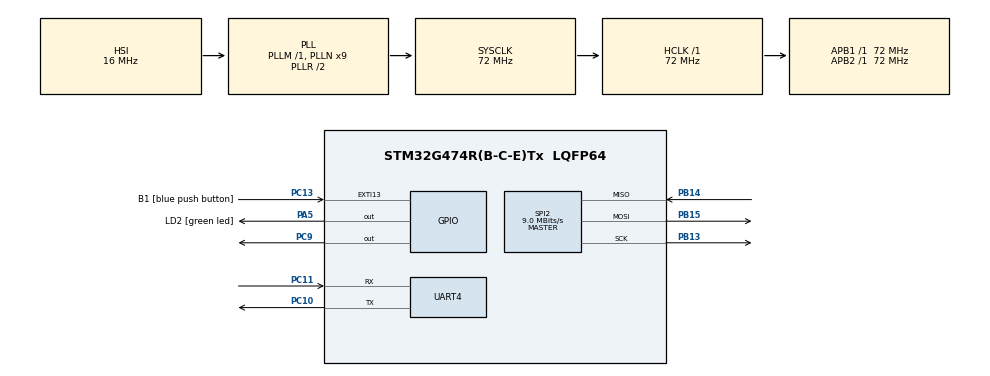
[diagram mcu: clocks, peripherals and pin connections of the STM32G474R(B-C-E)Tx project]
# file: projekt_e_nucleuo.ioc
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Dma.Request0=UART4_RX
Dma.Request1=UART4_TX
Dma.Request2=SPI2_RX
Dma.Request3=SPI2_TX
Dma.SPI2_RX.2.Direction=DMA_PERIPH_TO_MEMORY
Dma.SPI2_RX.2.EventEnable=DISABLE
Dma.SPI2_RX.2.Instance=DMA1_Channel3
Dma.SPI2_RX.2.MemDataAlignment=DMA_MDATAALIGN_BYTE
Dma.SPI2_RX.2.MemInc=DMA_MINC_ENABLE
Dma.SPI2_RX.2.Mode=DMA_NORMAL
Dma.SPI2_RX.2.PeriphDataAlignment=DMA_PDATAALIGN_BYTE
Dma.SPI2_RX.2.PeriphInc=DMA_PINC_DISABLE
Dma.SPI2_RX.2.Polarity=HAL_DMAMUX_REQ_GEN_RISING
Dma.SPI2_RX.2.Priority=DMA_PRIORITY_LOW
Dma.SPI2_RX.2.RequestNumber=1
Dma.SPI2_RX.2.SignalID=NONE
Dma.SPI2_RX.2.SyncEnable=DISABLE
Dma.SPI2_RX.2.SyncPolarity=HAL_DMAMUX_SYNC_NO_EVENT
Dma.SPI2_RX.2.SyncRequestNumber=1
Dma.SPI2_RX.2.SyncSignalID=NONE
Dma.SPI2_TX.3.Direction=DMA_MEMORY_TO_PERIPH
Dma.SPI2_TX.3.EventEnable=DISABLE
Dma.SPI2_TX.3.Instance=DMA1_Channel4
Dma.SPI2_TX.3.MemDataAlignment=DMA_MDATAALIGN_BYTE
Dma.SPI2_TX.3.MemInc=DMA_MINC_ENABLE
Dma.SPI2_TX.3.Mode=DMA_NORMAL
Dma.SPI2_TX.3.PeriphDataAlignment=DMA_PDATAALIGN_BYTE
Dma.SPI2_TX.3.PeriphInc=DMA_PINC_DISABLE
Dma.SPI2_TX.3.Polarity=HAL_DMAMUX_REQ_GEN_RISING
Dma.SPI2_TX.3.Priority=DMA_PRIORITY_LOW
Dma.SPI2_TX.3.RequestNumber=1
Dma.SPI2_TX.3.SignalID=NONE
Dma.SPI2_TX.3.SyncEnable=DISABLE
Dma.SPI2_TX.3.SyncPolarity=HAL_DMAMUX_SYNC_NO_EVENT
Dma.SPI2_TX.3.SyncRequestNumber=1
Dma.SPI2_TX.3.SyncSignalID=NONE
Dma.UART4_RX.0.Direction=DMA_PERIPH_TO_MEMORY
Dma.UART4_RX.0.EventEnable=DISABLE
Dma.UART4_RX.0.Instance=DMA1_Channel1
Dma.UART4_RX.0.MemDataAlignment=DMA_MDATAALIGN_BYTE
Dma.UART4_RX.0.MemInc=DMA_MINC_ENABLE
Dma.UART4_RX.0.Mode=DMA_NORMAL
Dma.UART4_RX.0.PeriphDataAlignment=DMA_PDATAALIGN_BYTE
Dma.UART4_RX.0.PeriphInc=DMA_PINC_DISABLE
Dma.UART4_RX.0.Polarity=HAL_DMAMUX_REQ_GEN_RISING
Dma.UART4_RX.0.Priority=DMA_PRIORITY_LOW
Dma.UART4_RX.0.RequestNumber=1
Dma.UART4_RX.0.SignalID=NONE
Dma.UART4_RX.0.SyncEnable=DISABLE
Dma.UART4_RX.0.SyncPolarity=HAL_DMAMUX_SYNC_NO_EVENT
Dma.UART4_RX.0.SyncRequestNumber=1
Dma.UART4_RX.0.SyncSignalID=NONE
Dma.UART4_TX.1.Direction=DMA_MEMORY_TO_PERIPH
Dma.UART4_TX.1.EventEnable=DISABLE
Dma.UART4_TX.1.Instance=DMA1_Channel2
Dma.UART4_TX.1.MemDataAlignment=DMA_MDATAALIGN_BYTE
Dma.UART4_TX.1.MemInc=DMA_MINC_ENABLE
Dma.UART4_TX.1.Mode=DMA_NORMAL
Dma.UART4_TX.1.PeriphDataAlignment=DMA_PDATAALIGN_BYTE
Dma.UART4_TX.1.PeriphInc=DMA_PINC_DISABLE
Dma.UART4_TX.1.Polarity=HAL_DMAMUX_REQ_GEN_RISING
Dma.UART4_TX.1.Priority=DMA_PRIORITY_LOW
Dma.UART4_TX.1.RequestNumber=1
Dma.UART4_TX.1.SignalID=NONE
Dma.UART4_TX.1.SyncEnable=DISABLE
Dma.UART4_TX.1.SyncPolarity=HAL_DMAMUX_SYNC_NO_EVENT
Dma.UART4_TX.1.SyncRequestNumber=1
Dma.UART4_TX.1.SyncSignalID=NONE
Mcu.Family=STM32G4
Mcu.Name=STM32G474R(B-C-E)Tx
Mcu.Package=LQFP64
NVIC.DMA1_Channel1_IRQn=true\:0\:0\:false\:false\:true\:false\:true\:true
NVIC.DMA1_Channel2_IRQn=true\:0\:0\:false\:false\:true\:false\:true\:true
NVIC.DMA1_Channel3_IRQn=true\:0\:0\:false\:false\:true\:false\:true\:true
NVIC.DMA1_Channel4_IRQn=true\:0\:0\:false\:false\:true\:false\:true\:true
NVIC.EXTI15_10_IRQn=true\:0\:0\:false\:false\:true\:true\:true\:true
NVIC.PriorityGroup=NVIC_PRIORITYGROUP_4
NVIC.SPI2_IRQn=true\:0\:0\:false\:false\:true\:true\:true\:true
NVIC.TIM2_IRQn=true\:0\:0\:false\:false\:true\:true\:true\:true
NVIC.UART4_IRQn=true\:0\:0\:false\:false\:true\:true\:true\:true
PA13.GPIO_Label=T_SWDIO
PA13.Mode=Serial_Wire
PA13.Signal=SYS_JTMS-SWDIO
PA14.GPIO_Label=T_SWCLK
PA14.Mode=Serial_Wire
PA14.Signal=SYS_JTCK-SWCLK
PA2.GPIO_Label=LPUART1_TX [STLINKV3E_VCP_RX]
PA2.Signal=LPUART1_TX
PA3.GPIO_Label=LPUART1_RX [STLINKV3E_VCP_TX]
PA3.Signal=LPUART1_RX
PA5.GPIO_Label=LD2 [green led]
PA5.Signal=GPIO_Output
PB13.Mode=Full_Duplex_Master
PB13.Signal=SPI2_SCK
PB14.Mode=Full_Duplex_Master
PB14.Signal=SPI2_MISO
PB15.Mode=Full_Duplex_Master
PB15.Signal=SPI2_MOSI
PB3.GPIO_Label=T_SWO
PB3.Signal=SYS_JTDO-SWO
PC10.Mode=Asynchronous
PC10.Signal=UART4_TX
PC11.Mode=Asynchronous
PC11.Signal=UART4_RX
PC13.GPIO_Label=B1 [blue push button]
PC13.Signal=GPXTI13
PC14-OSC32_IN.GPIO_Label=RCC_OSC32_IN
PC14-OSC32_IN.Signal=RCC_OSC32_IN
PC15-OSC32_OUT.GPIO_Label=RCC_OSC32_OUT
PC15-OSC32_OUT.Signal=RCC_OSC32_OUT
PC9.Signal=GPIO_Output
PF0-OSC_IN.GPIO_Label=RCC_OSC_IN
PF0-OSC_IN.Mode=HSE-External-Oscillator
PF0-OSC_IN.Signal=RCC_OSC_IN
PF1-OSC_OUT.GPIO_Label=RCC_OSC_OUT
PF1-OSC_OUT.Mode=HSE-External-Oscillator
PF1-OSC_OUT.Signal=RCC_OSC_OUT
ProjectManager.HeapSize=0x200
ProjectManager.StackSize=0x400
ProjectManager.TargetToolchain=STM32CubeIDE
RCC.ADC12Freq_Value=72000000
RCC.ADC345Freq_Value=72000000
RCC.AHBFreq_Value=72000000
RCC.APB1Freq_Value=72000000
RCC.APB1TimFreq_Value=72000000
RCC.APB2Freq_Value=72000000
RCC.APB2TimFreq_Value=72000000
RCC.CortexFreq_Value=72000000
RCC.EXTERNAL_CLOCK_VALUE=12288000
RCC.HCLKFreq_Value=72000000
RCC.HSE_VALUE=24000000
RCC.HSI48_VALUE=48000000
RCC.HSI_VALUE=16000000
RCC.LSE_VALUE=32768
RCC.PLLN=9
RCC.RTCClockSelection=RCC_RTCCLKSOURCE_LSE
RCC.SYSCLKFreq_VALUE=72000000
RCC.SYSCLKSource=RCC_SYSCLKSOURCE_PLLCLK
RCC.USBFreq_Value=72000000
RCC.VCOOutputFreq_Value=144000000
SPI2.BaudRatePrescaler=SPI_BAUDRATEPRESCALER_8
SPI2.CalculateBaudRate=9.0 MBits/s
SPI2.DataSize=SPI_DATASIZE_8BIT
SPI2.Direction=SPI_DIRECTION_2LINES
SPI2.Mode=SPI_MODE_MASTER
SPI2.VirtualType=VM_MASTER
TIM2.PeriodNoDither=78
TIM2.Prescaler=7200
VP_SYS_VS_DBSignals.Mode=DisableDeadBatterySignals
VP_TIM2_VS_ClockSourceINT.Mode=Internal
board=NUCLEO-G474RE

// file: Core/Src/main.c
/* USER CODE BEGIN Header */
/**
  ******************************************************************************
  * @file           : main.c
  * @brief          : Main program body
  ******************************************************************************
  * @attention
  *
  * Copyright (c) 2025 STMicroelectronics.
  * All rights reserved.
  *
  * This software is licensed under terms that can be found in the LICENSE file
  * in the root directory of this software component.
  * If no LICENSE file comes with this software, it is provided AS-IS.
  *
  ******************************************************************************
  */
/* USER CODE END Header */
#include "main.h"

/* USER CODE BEGIN Includes */
#include "MAX30003.h"
#include "PanTompkins.h"
#include <string.h>
/* USER CODE END Includes */

/* USER CODE BEGIN PD */

//parametri sinusa

/* USER CODE END PD */

SPI_HandleTypeDef hspi2;
DMA_HandleTypeDef hdma_spi2_rx;
DMA_HandleTypeDef hdma_spi2_tx;

TIM_HandleTypeDef htim2;

UART_HandleTypeDef huart4;
DMA_HandleTypeDef hdma_uart4_rx;
DMA_HandleTypeDef hdma_uart4_tx;

/* USER CODE BEGIN PV */

uint8_t rx_byte;
char rx_buffer[32];
uint8_t rx_index = 0;

volatile uint8_t streaming = 0; //varijabla sa kojom ćemo pokrenut omogucit tj. onemogucit dma prijenos prema uartu
volatile int data = 0;
volatile uint16_t mock_index = 0;
volatile int bpm_main = 0;
volatile int ecg_data;

typedef struct __attribute__((packed)) {
    uint8_t  header;    // 0xAA
    int ecg_raw;   // 4 bytes (MAX30003 gives 24-bit, we store in 32
    int bpm;
    uint8_t  footer;    // 0xZZ
} ECG_Packet_t;
//__attribute__ govori kompajleru "sada  cu ti dat neku iznimnu nardebu", packed znači da se adrese u strukturi koju pošaljemo u
//mikrokontroler neće poravnati na adrese djeljive sa 4, već čemo ih "stisnut skupa

ECG_Packet_t myPacket;

volatile uint8_t transfer_complete = 1; // Zastavica kojom kontroliramo SPI  i UART prijenos

/* USER CODE END PV */

void SystemClock_Config(void);
static void MX_GPIO_Init(void);
static void MX_DMA_Init(void);
static void MX_UART4_Init(void);
static void MX_SPI2_Init(void);
static void MX_TIM2_Init(void);

/* USER CODE BEGIN 0 */

void stop_streaming(void);
void HAL_UART_TxCpltCallback(UART_HandleTypeDef *huart); //Poziva se nakon slanja komandi sa Python-a
void start_stream(void);
void send_packet(void);
int generate_ecg_sample(void);
void HAL_TIM_PeriodElapsedCallback(TIM_HandleTypeDef* htim); //poziva sa frekvnecijom 256 Hz

/* USER CODE END 0 */

int main(void)
{

  /* MCU Configuration--------------------------------------------------------*/

  /* Reset of all peripherals, Initializes the Flash interface and the Systick. */
  HAL_Init();

  /* Configure the system clock */
  SystemClock_Config();

  /* Initialize all configured peripherals */
  MX_GPIO_Init();
  MX_DMA_Init();
  MX_UART4_Init();
  MX_SPI2_Init();
  MX_TIM2_Init();
  /* USER CODE BEGIN 2 */

  HAL_TIM_Base_Start_IT(&htim2);
  HAL_UART_Receive_IT(&huart4, &rx_byte, 1); //omogucujemo interrupt da povežemo python sa mikrokontrolerom
  PanTompkins_Init();
  myPacket.header = 0xAA;
  myPacket.footer = 0x0A;
  myPacket.bpm = 0;
  MAX30003_Init(&hspi2);

  /* USER CODE END 2 */

  /* Infinite loop */
  while (1)
  {

    /* USER CODE BEGIN 3 */
	  if (streaming)
	    {
	      if(transfer_complete == 0){
	    	  transfer_complete = 1;
	//   	  ecg_data = MAX30003_ReadECG(&hspi2);
	    	  ecg_data = generate_ecg_sample();
	   	myPacket.ecg_raw = ecg_data;
	    	  bpm_main = PanTompkins_Process(ecg_data);
	    	  myPacket.bpm = bpm_main;
	    	  HAL_UART_Transmit(&huart4, (uint8_t*)&myPacket, sizeof(myPacket), 100);

	      }
	    }
	    else
	    {
	      // Kad nema streaming, provjeri UART komande
	    }

  }
  /* USER CODE END 3 */
}

void SystemClock_Config(void)
{
  RCC_OscInitTypeDef RCC_OscInitStruct = {0};
  RCC_ClkInitTypeDef RCC_ClkInitStruct = {0};

  /** Configure the main internal regulator output voltage
  */
  HAL_PWREx_ControlVoltageScaling(PWR_REGULATOR_VOLTAGE_SCALE1);

  /** Initializes the RCC Oscillators according to the specified parameters
  * in the RCC_OscInitTypeDef structure.
  */
  RCC_OscInitStruct.OscillatorType = RCC_OSCILLATORTYPE_HSI;
  RCC_OscInitStruct.HSIState = RCC_HSI_ON;
  RCC_OscInitStruct.HSICalibrationValue = RCC_HSICALIBRATION_DEFAULT;
  RCC_OscInitStruct.PLL.PLLState = RCC_PLL_ON;
  RCC_OscInitStruct.PLL.PLLSource = RCC_PLLSOURCE_HSI;
  RCC_OscInitStruct.PLL.PLLM = RCC_PLLM_DIV1;
  RCC_OscInitStruct.PLL.PLLN = 9;
  RCC_OscInitStruct.PLL.PLLP = RCC_PLLP_DIV2;
  RCC_OscInitStruct.PLL.PLLQ = RCC_PLLQ_DIV2;
  RCC_OscInitStruct.PLL.PLLR = RCC_PLLR_DIV2;
  if (HAL_RCC_OscConfig(&RCC_OscInitStruct) != HAL_OK)
  {
    Error_Handler();
  }

  /** Initializes the CPU, AHB and APB buses clocks
  */
  RCC_ClkInitStruct.ClockType = RCC_CLOCKTYPE_HCLK|RCC_CLOCKTYPE_SYSCLK
                              |RCC_CLOCKTYPE_PCLK1|RCC_CLOCKTYPE_PCLK2;
  RCC_ClkInitStruct.SYSCLKSource = RCC_SYSCLKSOURCE_PLLCLK;
  RCC_ClkInitStruct.AHBCLKDivider = RCC_SYSCLK_DIV1;
  RCC_ClkInitStruct.APB1CLKDivider = RCC_HCLK_DIV1;
  RCC_ClkInitStruct.APB2CLKDivider = RCC_HCLK_DIV1;

  if (HAL_RCC_ClockConfig(&RCC_ClkInitStruct, FLASH_LATENCY_2) != HAL_OK)
  {
    Error_Handler();
  }
}

static void MX_SPI2_Init(void)
{

  /* SPI2 parameter configuration*/
  hspi2.Instance = SPI2;
  hspi2.Init.Mode = SPI_MODE_MASTER;
  hspi2.Init.Direction = SPI_DIRECTION_2LINES;
  hspi2.Init.DataSize = SPI_DATASIZE_8BIT;
  hspi2.Init.CLKPolarity = SPI_POLARITY_LOW;
  hspi2.Init.CLKPhase = SPI_PHASE_1EDGE;
  hspi2.Init.NSS = SPI_NSS_SOFT;
  hspi2.Init.BaudRatePrescaler = SPI_BAUDRATEPRESCALER_8;
  hspi2.Init.FirstBit = SPI_FIRSTBIT_MSB;
  hspi2.Init.TIMode = SPI_TIMODE_DISABLE;
  hspi2.Init.CRCCalculation = SPI_CRCCALCULATION_DISABLE;
  hspi2.Init.CRCPolynomial = 7;
  hspi2.Init.CRCLength = SPI_CRC_LENGTH_DATASIZE;
  hspi2.Init.NSSPMode = SPI_NSS_PULSE_ENABLE;
  if (HAL_SPI_Init(&hspi2) != HAL_OK)
  {
    Error_Handler();
  }

}

static void MX_TIM2_Init(void)
{

  TIM_ClockConfigTypeDef sClockSourceConfig = {0};
  TIM_MasterConfigTypeDef sMasterConfig = {0};

  htim2.Instance = TIM2;
  htim2.Init.Prescaler = 3600;
  htim2.Init.CounterMode = TIM_COUNTERMODE_UP;
  htim2.Init.Period = 78;
  htim2.Init.ClockDivision = TIM_CLOCKDIVISION_DIV1;
  htim2.Init.AutoReloadPreload = TIM_AUTORELOAD_PRELOAD_DISABLE;
  if (HAL_TIM_Base_Init(&htim2) != HAL_OK)
  {
    Error_Handler();
  }
  sClockSourceConfig.ClockSource = TIM_CLOCKSOURCE_INTERNAL;
  if (HAL_TIM_ConfigClockSource(&htim2, &sClockSourceConfig) != HAL_OK)
  {
    Error_Handler();
  }
  sMasterConfig.MasterOutputTrigger = TIM_TRGO_RESET;
  sMasterConfig.MasterSlaveMode = TIM_MASTERSLAVEMODE_DISABLE;
  if (HAL_TIMEx_MasterConfigSynchronization(&htim2, &sMasterConfig) != HAL_OK)
  {
    Error_Handler();
  }

}

static void MX_UART4_Init(void)
{

  huart4.Instance = UART4;
  huart4.Init.BaudRate = 115200;
  huart4.Init.WordLength = UART_WORDLENGTH_8B;
  huart4.Init.StopBits = UART_STOPBITS_1;
  huart4.Init.Parity = UART_PARITY_NONE;
  huart4.Init.Mode = UART_MODE_TX_RX;
  huart4.Init.HwFlowCtl = UART_HWCONTROL_NONE;
  huart4.Init.OverSampling = UART_OVERSAMPLING_16;
  huart4.Init.OneBitSampling = UART_ONE_BIT_SAMPLE_DISABLE;
  huart4.Init.ClockPrescaler = UART_PRESCALER_DIV1;
  huart4.AdvancedInit.AdvFeatureInit = UART_ADVFEATURE_NO_INIT;
  if (HAL_UART_Init(&huart4) != HAL_OK)
  {
    Error_Handler();
  }
  if (HAL_UARTEx_SetTxFifoThreshold(&huart4, UART_TXFIFO_THRESHOLD_1_8) != HAL_OK)
  {
    Error_Handler();
  }
  if (HAL_UARTEx_SetRxFifoThreshold(&huart4, UART_RXFIFO_THRESHOLD_1_8) != HAL_OK)
  {
    Error_Handler();
  }
  if (HAL_UARTEx_DisableFifoMode(&huart4) != HAL_OK)
  {
    Error_Handler();
  }

}

static void MX_DMA_Init(void)
{

  /* DMA controller clock enable */
  __HAL_RCC_DMAMUX1_CLK_ENABLE();
  __HAL_RCC_DMA1_CLK_ENABLE();

  /* DMA interrupt init */
  /* DMA1_Channel1_IRQn interrupt configuration */
  HAL_NVIC_SetPriority(DMA1_Channel1_IRQn, 0, 0);
  HAL_NVIC_EnableIRQ(DMA1_Channel1_IRQn);
  /* DMA1_Channel2_IRQn interrupt configuration */
  HAL_NVIC_SetPriority(DMA1_Channel2_IRQn, 0, 0);
  HAL_NVIC_EnableIRQ(DMA1_Channel2_IRQn);
  /* DMA1_Channel3_IRQn interrupt configuration */
  HAL_NVIC_SetPriority(DMA1_Channel3_IRQn, 0, 0);
  HAL_NVIC_EnableIRQ(DMA1_Channel3_IRQn);
  /* DMA1_Channel4_IRQn interrupt configuration */
  HAL_NVIC_SetPriority(DMA1_Channel4_IRQn, 0, 0);
  HAL_NVIC_EnableIRQ(DMA1_Channel4_IRQn);

}

static void MX_GPIO_Init(void)
{
  GPIO_InitTypeDef GPIO_InitStruct = {0};

  /* GPIO Ports Clock Enable */
  __HAL_RCC_GPIOC_CLK_ENABLE();
  __HAL_RCC_GPIOF_CLK_ENABLE();
  __HAL_RCC_GPIOA_CLK_ENABLE();
  __HAL_RCC_GPIOB_CLK_ENABLE();

  /*Configure GPIO pin Output Level */
  HAL_GPIO_WritePin(LD2_GPIO_Port, LD2_Pin, GPIO_PIN_RESET);

  /*Configure GPIO pin Output Level */
  HAL_GPIO_WritePin(GPIOC, GPIO_PIN_9, GPIO_PIN_RESET);

  /*Configure GPIO pin : B1_Pin */
  GPIO_InitStruct.Pin = B1_Pin;
  GPIO_InitStruct.Mode = GPIO_MODE_IT_RISING;
  GPIO_InitStruct.Pull = GPIO_NOPULL;
  HAL_GPIO_Init(B1_GPIO_Port, &GPIO_InitStruct);

  /*Configure GPIO pins : LPUART1_TX_Pin LPUART1_RX_Pin */
  GPIO_InitStruct.Pin = LPUART1_TX_Pin|LPUART1_RX_Pin;
  GPIO_InitStruct.Mode = GPIO_MODE_AF_PP;
  GPIO_InitStruct.Pull = GPIO_NOPULL;
  GPIO_InitStruct.Speed = GPIO_SPEED_FREQ_LOW;
  GPIO_InitStruct.Alternate = GPIO_AF12_LPUART1;
  HAL_GPIO_Init(GPIOA, &GPIO_InitStruct);

  /*Configure GPIO pin : LD2_Pin */
  GPIO_InitStruct.Pin = LD2_Pin;
  GPIO_InitStruct.Mode = GPIO_MODE_OUTPUT_PP;
  GPIO_InitStruct.Pull = GPIO_NOPULL;
  GPIO_InitStruct.Speed = GPIO_SPEED_FREQ_LOW;
  HAL_GPIO_Init(LD2_GPIO_Port, &GPIO_InitStruct);

  /*Configure GPIO pin : PC9 */
  GPIO_InitStruct.Pin = GPIO_PIN_9;
  GPIO_InitStruct.Mode = GPIO_MODE_OUTPUT_PP;
  GPIO_InitStruct.Pull = GPIO_NOPULL;
  GPIO_InitStruct.Speed = GPIO_SPEED_FREQ_LOW;
  HAL_GPIO_Init(GPIOC, &GPIO_InitStruct);

  /* EXTI interrupt init*/
  HAL_NVIC_SetPriority(EXTI15_10_IRQn, 0, 0);
  HAL_NVIC_EnableIRQ(EXTI15_10_IRQn);

}

/* USER CODE BEGIN 4 */

void HAL_UART_RxCpltCallback(UART_HandleTypeDef *huart)
//Nakon što se triggera interrupt na rx, ova se funkcija automatski poziva

{
    if (huart->Instance == UART4)
    {
        if (rx_byte == '\n')   // kraj poruke, poruke koje šaljemo iz pythonu moraju zavrsavat na '\n'
        {
            rx_buffer[rx_index] = '\0';
            rx_index = 0;

            if (strcmp(rx_buffer, "#?#") == 0)
            {
                // SYNC zahtjev saljemo sa uartom u python skriptu
            	//preko uarta5 šaljemo znak !, koji sadrži samo jedan bajt i timeout je 100ms
                HAL_UART_Transmit(&huart4, (uint8_t*)"!", 1, 100);
            }
            else if (strcmp(rx_buffer, "#A#") == 0)
            {
            	//strcmp(a,b) - usporedjuje dva stringa i ako su jednaki vraca nulu
                // START STREAM
            	HAL_UART_Receive_IT(&huart4, &rx_byte, 1);
            	start_stream();
            }
            else if (strcmp(rx_buffer, "#S#") == 0)
            {
                // STOP STREAM
                stop_streaming();
            }
            else if(strcmp(rx_buffer, "#D#") == 0)
            {

            }
        }
        else
        {
            rx_buffer[rx_index++] = rx_byte;
            if (rx_index >= sizeof(rx_buffer))
                rx_index = 0;
        }

        HAL_UART_Receive_IT(&huart4, &rx_byte, 1);

    }
}

void HAL_TIM_PeriodElapsedCallback(TIM_HandleTypeDef* htim){
	if(htim->Instance == TIM2){

		if (streaming)
			   {
			      transfer_complete = 0; //znaci da mozemo po sljedeci podatak sa SPI

			   }

	}

}

void stop_streaming(void)
{
	transfer_complete = 0;
    streaming = 0;
    HAL_UART_AbortTransmit(&huart4);
}

void start_stream(void){
	if (!streaming)
	  {
	    streaming = 1;
	    transfer_complete = 1;
	  }
}

int generate_ecg_sample(void)
	{
    if(mock_index == 19500){
    	mock_index = 0;
    }
    mock_index += 1;
    return ecg_mock_data[mock_index];

	}

/* USER CODE END 4 */

void Error_Handler(void)
{
  __disable_irq();
  while (1)
  {
  }
}
